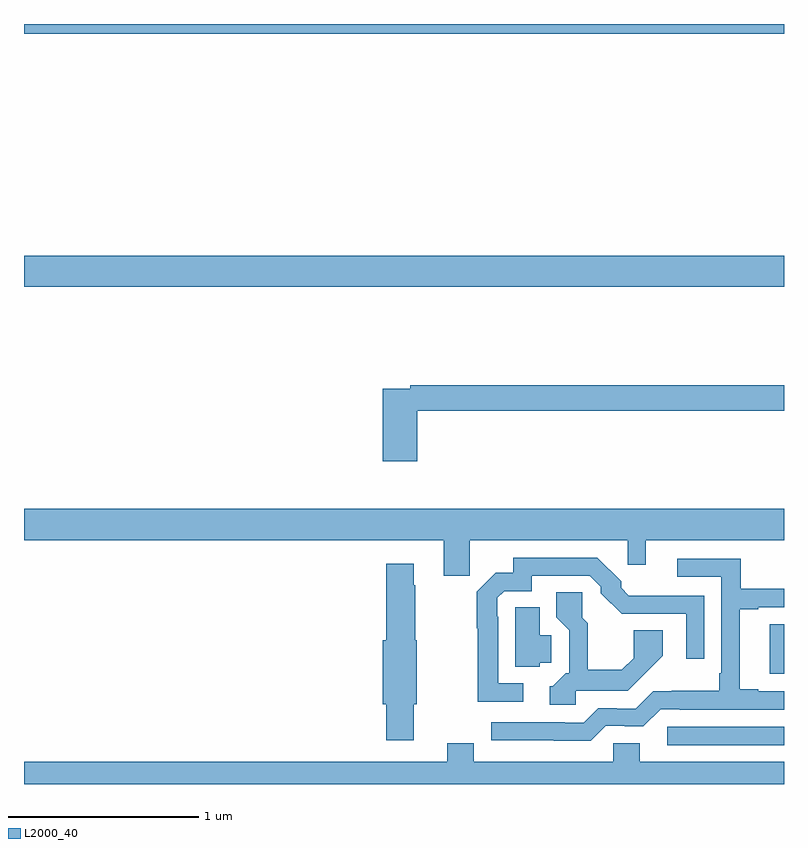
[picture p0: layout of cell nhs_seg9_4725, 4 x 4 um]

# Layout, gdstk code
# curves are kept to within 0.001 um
import gdstk
lib = gdstk.Library(unit=1e-6, precision=1e-09)
def R(c, l, rs):  # rectangles x0, y0, x1, y1
    for r in rs: c.add(gdstk.rectangle(r[:2], r[2:], *l))
def P(c, l, *ps):  # polygons
    for p in ps: c.add(gdstk.Polygon(p, *l))
L2000_40 = (2000, 40)

nhs_seg9_4725 = lib.new_cell('nhs_seg9_4725')
R(nhs_seg9_4725, L2000_40, [(388.386,1164.705,389,1164.801), (388.925,1165.08,389,1165.341), (385,1167.116,389,1167.28), (385,1168.448,389,1168.5)])
P(nhs_seg9_4725, L2000_40, [(387.071,1166.464),(389,1166.464),(389,1166.6),(387.034,1166.6),(387.034,1166.58),(386.888,1166.58),(386.888,1166.199),(387.071,1166.199)],
  [(387.347,1165.784),(388.177,1165.784),(388.177,1165.655),(388.273,1165.655),(388.273,1165.784),(389,1165.784),(389,1165.948),(385,1165.948),(385,1165.784),(387.209,1165.784),(387.209,1165.596),(387.347,1165.596)],
  [(387.628,1165.029),(387.495,1165.029),(387.495,1165.379),(387.492,1165.379),(387.492,1165.479),(387.528,1165.515),(387.672,1165.515),(387.672,1165.596),(387.978,1165.596),(388.035,1165.539),(388.035,1165.505),(388.145,1165.395),(388.485,1165.395),(388.485,1165.158),(388.581,1165.158),(388.581,1165.491),(388.184,1165.492),(388.144,1165.533),(388.144,1165.567),(388.018,1165.692),(387.574,1165.692),(387.574,1165.612),(387.484,1165.612),(387.384,1165.512),(387.384,1165.321),(387.387,1165.321),(387.387,1164.933),(387.628,1164.933)],
  [(388.062,1164.807),(388.163,1164.807),(388.163,1164.804),(388.26,1164.804),(388.35,1164.894),(388.45,1164.894),(388.45,1164.891),(389,1164.891),(389,1164.987),(388.864,1164.987),(388.864,1165),(388.768,1165),(388.768,1165.419),(388.864,1165.419),(388.864,1165.431),(389,1165.431),(389,1165.528),(388.772,1165.528),(388.772,1165.686),(388.437,1165.686),(388.437,1165.59),(388.671,1165.59),(388.671,1165.084),(388.659,1165.084),(388.659,1164.991),(388.408,1164.991),(388.408,1164.987),(388.311,1164.987),(388.221,1164.897),(388.121,1164.897),(388.121,1164.9),(388.023,1164.9),(387.945,1164.822),(387.845,1164.822),(387.845,1164.825),(387.459,1164.825),(387.459,1164.729),(387.983,1164.728)],
  [(387.052,1164.921),(387.066,1164.921),(387.066,1165.257),(387.06,1165.257),(387.06,1165.547),(387.052,1165.547),(387.052,1165.66),(386.906,1165.66),(386.906,1165.257),(386.888,1165.257),(386.888,1164.921),(386.906,1164.921),(386.906,1164.729),(387.052,1164.729)],
  [(387.903,1164.99),(388.177,1164.99),(388.363,1165.174),(388.363,1165.31),(388.209,1165.31),(388.209,1165.162),(388.147,1165.101),(387.968,1165.101),(387.968,1165.346),(387.939,1165.375),(387.939,1165.51),(387.8,1165.51),(387.8,1165.378),(387.87,1165.308),(387.87,1165.083),(387.852,1165.083),(387.783,1165.014),(387.767,1165.014),(387.767,1164.918),(387.903,1164.918)],
  [(387.714,1165.137),(387.774,1165.137),(387.774,1165.283),(387.715,1165.283),(387.715,1165.43),(387.585,1165.43),(387.585,1165.118),(387.714,1165.118)],
  [(389,1164.616),(388.24,1164.616),(388.24,1164.714),(388.101,1164.714),(388.101,1164.616),(387.367,1164.616),(387.367,1164.715),(387.227,1164.715),(387.227,1164.616),(385,1164.616),(385,1164.5),(389,1164.5)])

lib.write_gds('nhs_seg9_4725.gds')
